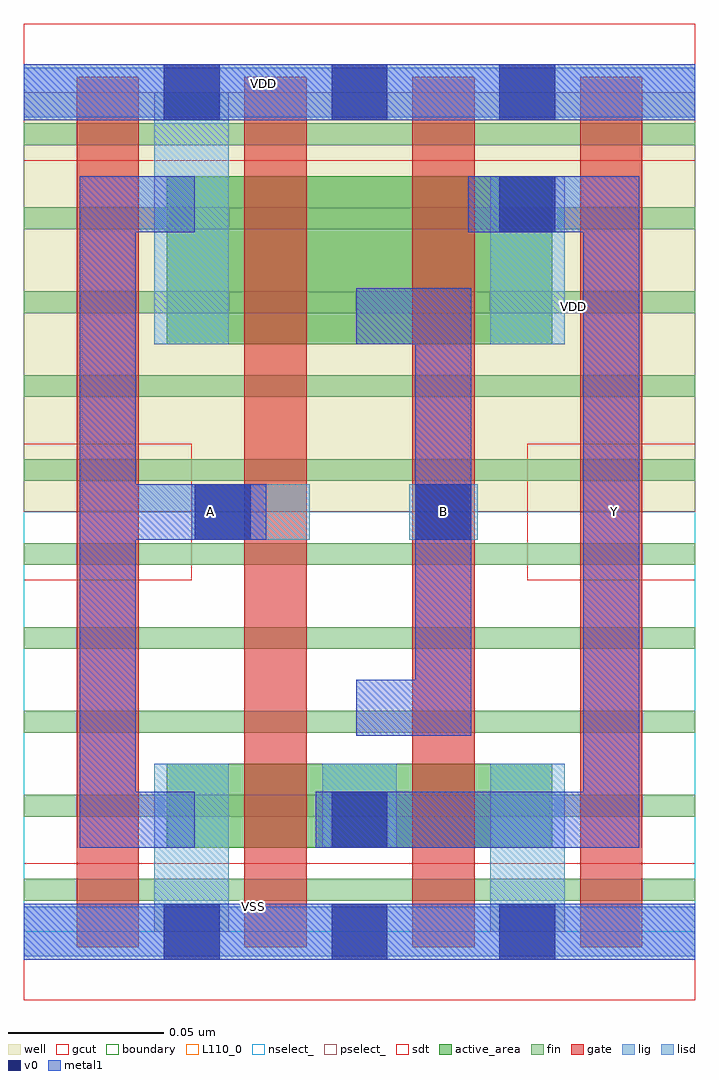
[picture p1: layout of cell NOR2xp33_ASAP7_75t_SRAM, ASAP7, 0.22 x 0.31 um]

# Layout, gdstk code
import gdstk
lib = gdstk.Library(unit=1e-6, precision=1e-09)
def R(c, l, rs):  # rectangles x0, y0, x1, y1
    for r in rs: c.add(gdstk.rectangle(r[:2], r[2:], *l))
def A(c, l, x, y, w, h, nx, ny, dx, dy):  # array of equal rectangles
    R(c, l, [(x+i*dx, y+j*dy, x+i*dx+w, y+j*dy+h) for i in range(nx) for j in range(ny)])
def P(c, l, *ps):  # polygons
    for p in ps: c.add(gdstk.Polygon(p, *l))
well = (1, 0)
fin = (2, 0)
gate = (7, 0)
gcut = (10, 0)
active_area = (11, 0)
nselect_ = (12, 0)
pselect_ = (13, 0)
lig = (16, 0)
lisd = (17, 0)
v0 = (18, 0)
metal1 = (19, 0)
sdt = (88, 0)
boundary = (100, 0)
L110_0 = (110, 0)

nor2xp33_asap7_75t_sram = lib.new_cell('NOR2xp33_ASAP7_75t_SRAM')
R(nor2xp33_asap7_75t_sram, well, [(0,0.135,0.216,0.27)])
A(nor2xp33_asap7_75t_sram, fin, 0, 0.01, 0.216, 0.007, 1, 10, 0, 0.027)
A(nor2xp33_asap7_75t_sram, gate, 0.017, -0.005, 0.02, 0.28, 4, 1, 0.054, 0)
R(nor2xp33_asap7_75t_sram, gcut, [(0,-0.022,0.216,0.022), (0,0.113,0.054,0.157), (0.162,0.113,0.216,0.157), (0,0.248,0.216,0.292)])
R(nor2xp33_asap7_75t_sram, active_area, [(0.046,0.027,0.17,0.054), (0.046,0.189,0.17,0.243)])
R(nor2xp33_asap7_75t_sram, nselect_, [(0,0,0.216,0.135)])
R(nor2xp33_asap7_75t_sram, pselect_, [(0,0.135,0.216,0.27)])
R(nor2xp33_asap7_75t_sram, lig, [(0,-0.008,0.216,0.008), (0.054,0.126,0.092,0.144), (0.124,0.126,0.146,0.144), (0,0.262,0.216,0.278)])
R(nor2xp33_asap7_75t_sram, lisd, [(0.042,0,0.066,0.054), (0.15,0,0.174,0.054), (0.096,0.027,0.12,0.054), (0.042,0.189,0.066,0.27), (0.15,0.189,0.174,0.243)])
A(nor2xp33_asap7_75t_sram, v0, 0.045, -0.009, 0.018, 0.018, 3, 2, 0.054, 0.27)
R(nor2xp33_asap7_75t_sram, v0, [(0.099,0.027,0.117,0.045), (0.055,0.126,0.073,0.144), (0.126,0.126,0.144,0.144), (0.153,0.225,0.171,0.243)])
R(nor2xp33_asap7_75t_sram, metal1, [(0,-0.009,0.216,0.009), (0,0.261,0.216,0.279)])
P(nor2xp33_asap7_75t_sram, metal1, [(0.198,0.027),(0.094,0.027),(0.094,0.045),(0.18,0.045),(0.18,0.225),(0.143,0.225),(0.143,0.243),(0.198,0.243)],
  [(0.144,0.207),(0.107,0.207),(0.107,0.189),(0.126,0.189),(0.126,0.081),(0.107,0.081),(0.107,0.063),(0.144,0.063)],
  [(0.078,0.144),(0.036,0.144),(0.036,0.225),(0.055,0.225),(0.055,0.243),(0.018,0.243),(0.018,0.027),(0.055,0.027),(0.055,0.045),(0.036,0.045),(0.036,0.126),(0.078,0.126)])
A(nor2xp33_asap7_75t_sram, sdt, 0.042, 0.027, 0.024, 0.027, 3, 1, 0.054, 0)
R(nor2xp33_asap7_75t_sram, sdt, [(0.042,0.189,0.066,0.243), (0.15,0.189,0.174,0.243)])
R(nor2xp33_asap7_75t_sram, boundary, [(0,0,0.216,0.27)])
R(nor2xp33_asap7_75t_sram, L110_0, [(0,0,0.216,0.27)])
nor2xp33_asap7_75t_sram.add(gdstk.Label('VDD', (0.077,0.273), layer=19, texttype=251))
nor2xp33_asap7_75t_sram.add(gdstk.Label('VSS', (0.074,0.008), layer=19, texttype=251))
nor2xp33_asap7_75t_sram.add(gdstk.Label('Y', (0.19,0.135), layer=19, texttype=251))
nor2xp33_asap7_75t_sram.add(gdstk.Label('B', (0.135,0.135), layer=19, texttype=251))
nor2xp33_asap7_75t_sram.add(gdstk.Label('A', (0.06,0.135), layer=19, texttype=251))
nor2xp33_asap7_75t_sram.add(gdstk.Label('VDD', (0.177,0.201), layer=1, texttype=251))
nor2xp33_asap7_75t_sram.add(gdstk.Label('VSS', (0.246,0.2), layer=3, texttype=251))

lib.write_gds('NOR2xp33_ASAP7_75t_SRAM.gds')
